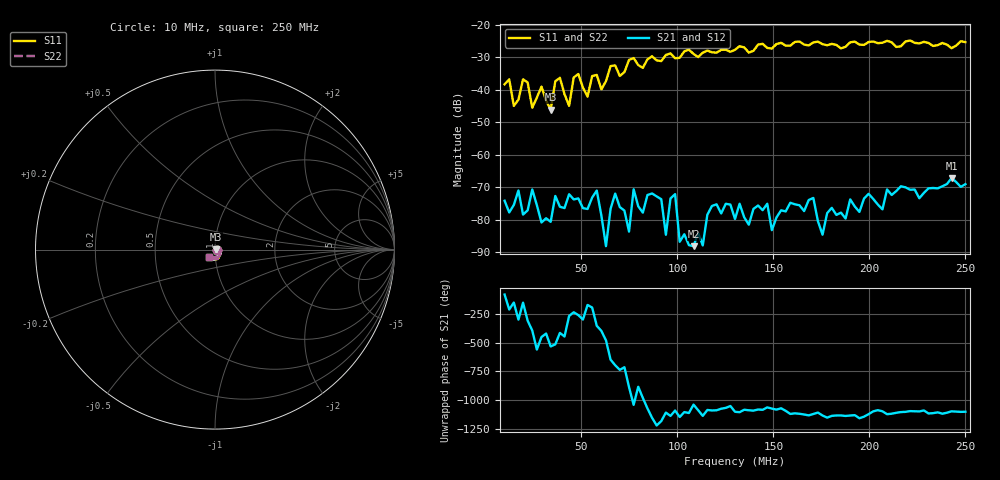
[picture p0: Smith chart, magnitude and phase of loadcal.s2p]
# Hz S RI R 50
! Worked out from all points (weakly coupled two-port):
!   101 points, 10 MHz to 250 MHz, reference 50 ohm
!   highest |S21| = -67.14 dB at 242.8 MHz (marker M1); lowest = -88.1 dB at 108.4 MHz (marker M2)
!   lowest |S11| = -46.0 dB at 34 MHz (marker M3), VSWR 1.01, Z = 50.4 + j0.271 ohm
!   |S11| at or under -10 dB: start of sweep to end of sweep
!   |S22| runs from -46.0 to -24.8 dB; largest |S21 - S12| = 0
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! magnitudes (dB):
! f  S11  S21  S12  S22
! 10 MHz  -38.3  -74.1  -74.1  -38.3
! 14.8 MHz  -44.9  -75.4  -75.4  -44.9
! 22 MHz  -37.7  -77.1  -77.1  -37.7
! 24.4 MHz  -45.5  -70.6  -70.6  -45.5
! 29.2 MHz  -39.0  -80.8  -80.8  -39.0
! 34 MHz  -46.0  -80.6  -80.6  -46.0
! 36.4 MHz  -37.3  -72.6  -72.6  -37.3
! 38.8 MHz  -36.3  -76.0  -76.0  -36.3
! 43.6 MHz  -44.9  -72.1  -72.1  -44.9
! 46 MHz  -36.2  -73.7  -73.7  -36.2
! 50.8 MHz  -39.3  -76.4  -76.4  -39.3
! 91.6 MHz  -31.1  -73.6  -73.6  -31.1
! 94 MHz  -29.2  -84.6  -84.6  -29.2
! 98.8 MHz  -30.2  -72.1  -72.1  -30.2
! 101.2 MHz  -30.1  -86.7  -86.7  -30.1
! 108.4 MHz  -28.9  -88.1  -88.1  -28.9
! 130 MHz  -27.7  -79.7  -79.7  -27.7
! 170.8 MHz  -25.4  -73.2  -73.2  -25.4
! 175.6 MHz  -25.9  -84.6  -84.6  -25.9
! 211.6 MHz  -25.3  -72.3  -72.3  -25.3
! 242.8 MHz  -27.2  -67.1  -67.1  -27.2
! 250 MHz  -25.3  -69.0  -69.0  -25.3
